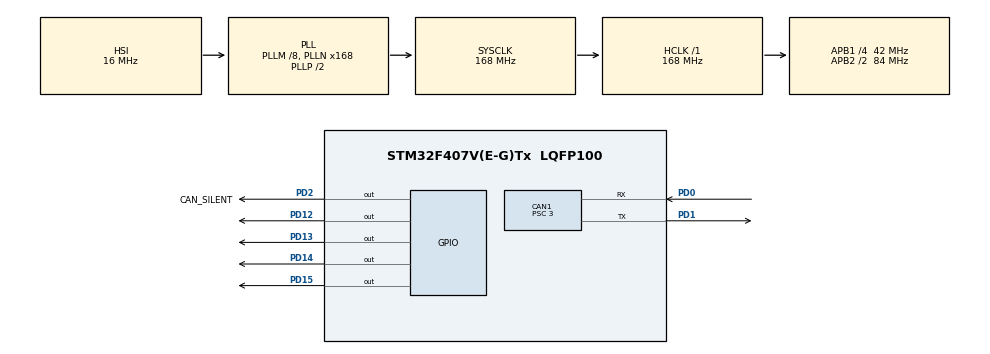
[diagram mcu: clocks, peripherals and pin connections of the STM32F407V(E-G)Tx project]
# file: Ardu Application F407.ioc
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CAN1.ABOM=ENABLE
CAN1.BS1=CAN_BS1_11TQ
CAN1.BS2=CAN_BS2_2TQ
CAN1.CalculateBaudRate=1000000
CAN1.CalculateTimeBit=1000
CAN1.CalculateTimeQuantum=71.42857142857143
CAN1.NART=ENABLE
CAN1.Prescaler=3
Mcu.Family=STM32F4
Mcu.Name=STM32F407V(E-G)Tx
Mcu.Package=LQFP100
NVIC.CAN1_RX0_IRQn=true\:0\:0\:false\:false\:true\:true\:true\:true
NVIC.PriorityGroup=NVIC_PRIORITYGROUP_4
NVIC.TIM6_DAC_IRQn=true\:0\:0\:false\:false\:true\:true\:true\:true
PA13.Mode=Serial_Wire
PA13.Signal=SYS_JTMS-SWDIO
PA14.Mode=Serial_Wire
PA14.Signal=SYS_JTCK-SWCLK
PD0.Mode=CAN_Activate
PD0.Signal=CAN1_RX
PD1.Mode=CAN_Activate
PD1.Signal=CAN1_TX
PD12.Signal=GPIO_Output
PD13.Signal=GPIO_Output
PD14.Signal=GPIO_Output
PD15.Signal=GPIO_Output
PD2.GPIO_Label=CAN_SILENT
PD2.Signal=GPIO_Output
ProjectManager.HeapSize=0x200
ProjectManager.StackSize=0x400
ProjectManager.TargetToolchain=STM32CubeIDE
RCC.48MHZClocksFreq_Value=84000000
RCC.AHBFreq_Value=168000000
RCC.APB1CLKDivider=RCC_HCLK_DIV4
RCC.APB1Freq_Value=42000000
RCC.APB1TimFreq_Value=84000000
RCC.APB2CLKDivider=RCC_HCLK_DIV2
RCC.APB2Freq_Value=84000000
RCC.APB2TimFreq_Value=168000000
RCC.CortexFreq_Value=168000000
RCC.HCLKFreq_Value=168000000
RCC.HSE_VALUE=25000000
RCC.HSI_VALUE=16000000
RCC.LSE_VALUE=32768
RCC.PLLM=8
RCC.PLLN=168
RCC.SYSCLKFreq_VALUE=168000000
RCC.SYSCLKSource=RCC_SYSCLKSOURCE_PLLCLK
RCC.VCOOutputFreq_Value=336000000
TIM6.Prescaler=839
VP_TIM6_VS_ClockSourceINT.Mode=Enable_Timer
board=custom

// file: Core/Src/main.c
/* USER CODE BEGIN Header */
/**
  ******************************************************************************
  * @file           : main.c
  * @brief          : Main program body
  ******************************************************************************
  * @attention
  *
  * Copyright (c) 2026 STMicroelectronics.
  * All rights reserved.
  *
  * This software is licensed under terms that can be found in the LICENSE file
  * in the root directory of this software component.
  * If no LICENSE file comes with this software, it is provided AS-IS.
  *
  ******************************************************************************
  */
/* USER CODE END Header */
#include "main.h"

/* USER CODE BEGIN Includes */
#include "dronecan_node.h"
#include "app_descriptor.h"
/* USER CODE END Includes */

/* USER CODE BEGIN PD */
#define LED_PIN          GPIO_PIN_12      /* PD12 green LED – 1 s blink */
#define LED_PORT         GPIOD
/* USER CODE END PD */

CAN_HandleTypeDef hcan1;

TIM_HandleTypeDef htim6;

/* USER CODE BEGIN PV */
static uint32_t g_led_last_toggle_ms = 0;
static uint8_t  g_led_state          = 0;
static uint8_t  g_fwok_set           = 0U;  /* set once after 5 s uptime */
/* USER CODE END PV */

void SystemClock_Config(void);
static void MX_GPIO_Init(void);
static void MX_CAN1_Init(void);
static void MX_TIM6_Init(void);

int main(void)
{

  /* USER CODE BEGIN 1 */
  /* Relocate vector table to 0x08010000 (bootloader leaves VTOR at 0x08000000).
   * Must happen before HAL_Init() enables SysTick. */
  SCB->VTOR = 0x08010000UL;
  __DSB();
  /* USER CODE END 1 */

  /* MCU Configuration--------------------------------------------------------*/

  /* Reset of all peripherals, Initializes the Flash interface and the Systick. */
  HAL_Init();

  /* Configure the system clock */
  SystemClock_Config();

  /* Initialize all configured peripherals */
  MX_GPIO_Init();
  MX_CAN1_Init();
  MX_TIM6_Init();
  /* USER CODE BEGIN 2 */

  /* Start TIM6 as free-running counter (100 kHz, 10 µs/tick).
   * No interrupt needed – HAL_GetTick() is used for all timing. */
  HAL_TIM_Base_Start(&htim6);

  /* Initialise DroneCAN node: filter, CAN start, canard init, node ID=14 */
  dronecan_init();

  /* USER CODE END 2 */

  /* Infinite loop */
  while (1)
  {

    /* USER CODE BEGIN 3 */

    /* DroneCAN: broadcast NodeStatus every 1 s, drain TX queue */
    dronecan_process();

    /* PD12 green LED: 500 ms on / 500 ms off = 1 s blink period */
    uint32_t now = HAL_GetTick();
    if ((now - g_led_last_toggle_ms) >= 500U)
    {
      g_led_last_toggle_ms = now;
      g_led_state ^= 1U;
      HAL_GPIO_WritePin(LED_PORT, LED_PIN,
                        g_led_state ? GPIO_PIN_SET : GPIO_PIN_RESET);
    }

    /* ---------------------------------------------------------------
     * Hardware watchdog (IWDG) pat.
     * The ArduPilot bootloader calls stm32_watchdog_init() before
     * jumping to the application, starting the IWDG with ~30 s timeout.
     * Writing 0xAAAA to IWDG_KR reloads the counter every loop so it
     * never expires.  If we omit this and the watchdog fires, the
     * bootloader will see (was_watchdog=TRUE, BKP0R != RTC_BOOT_FWOK)
     * on the next power-on and stay in bootloader mode permanently.
     * --------------------------------------------------------------- */
    IWDG->KR = 0xAAAAU;

    /* ---------------------------------------------------------------
     * Set RTC_BOOT_FWOK (0x890b4f89) once after 5 s of healthy uptime.
     * Value must match RTC_BOOT_FWOK in AP_HAL_ChibiOS watchdog.h.
     * This tells the bootloader: "this firmware ran OK – safe to boot
     * again after the next watchdog reset."  Without it, a watchdog
     * reset after power-on would lock the board in the bootloader.
     * --------------------------------------------------------------- */
    if ((now >= 5000U) && !g_fwok_set)
    {
      g_fwok_set = 1U;
      /* Enable RTC backup domain write access (same sequence as
       * rtc_write_bkp0 in dronecan_node.c). */
      RCC->APB1ENR |= RCC_APB1ENR_PWREN;
      PWR->CR      |= PWR_CR_DBP;
      RCC->BDCR    |= RCC_BDCR_RTCEN;
      RTC->BKP0R    = 0x890b4f89UL;   /* RTC_BOOT_FWOK */
    }

    /* USER CODE END 3 */
  }
  /* USER CODE END 3 */
}

void SystemClock_Config(void)
{
  RCC_OscInitTypeDef RCC_OscInitStruct = {0};
  RCC_ClkInitTypeDef RCC_ClkInitStruct = {0};

  /** Configure the main internal regulator output voltage
  */
  __HAL_RCC_PWR_CLK_ENABLE();
  __HAL_PWR_VOLTAGESCALING_CONFIG(PWR_REGULATOR_VOLTAGE_SCALE1);

  /** Initializes the RCC Oscillators according to the specified parameters
  * in the RCC_OscInitTypeDef structure.
  */
  RCC_OscInitStruct.OscillatorType = RCC_OSCILLATORTYPE_HSI;
  RCC_OscInitStruct.HSIState = RCC_HSI_ON;
  RCC_OscInitStruct.HSICalibrationValue = RCC_HSICALIBRATION_DEFAULT;
  RCC_OscInitStruct.PLL.PLLState = RCC_PLL_ON;
  RCC_OscInitStruct.PLL.PLLSource = RCC_PLLSOURCE_HSI;
  RCC_OscInitStruct.PLL.PLLM = 8;
  RCC_OscInitStruct.PLL.PLLN = 168;
  RCC_OscInitStruct.PLL.PLLP = RCC_PLLP_DIV2;
  RCC_OscInitStruct.PLL.PLLQ = 4;
  if (HAL_RCC_OscConfig(&RCC_OscInitStruct) != HAL_OK)
  {
    Error_Handler();
  }

  /** Initializes the CPU, AHB and APB buses clocks
  */
  RCC_ClkInitStruct.ClockType = RCC_CLOCKTYPE_HCLK|RCC_CLOCKTYPE_SYSCLK
                              |RCC_CLOCKTYPE_PCLK1|RCC_CLOCKTYPE_PCLK2;
  RCC_ClkInitStruct.SYSCLKSource = RCC_SYSCLKSOURCE_PLLCLK;
  RCC_ClkInitStruct.AHBCLKDivider = RCC_SYSCLK_DIV1;
  RCC_ClkInitStruct.APB1CLKDivider = RCC_HCLK_DIV4;
  RCC_ClkInitStruct.APB2CLKDivider = RCC_HCLK_DIV2;

  if (HAL_RCC_ClockConfig(&RCC_ClkInitStruct, FLASH_LATENCY_5) != HAL_OK)
  {
    Error_Handler();
  }
}

static void MX_CAN1_Init(void)
{

  hcan1.Instance = CAN1;
  hcan1.Init.Prescaler = 3;
  hcan1.Init.Mode = CAN_MODE_NORMAL;
  hcan1.Init.SyncJumpWidth = CAN_SJW_1TQ;
  hcan1.Init.TimeSeg1 = CAN_BS1_11TQ;
  hcan1.Init.TimeSeg2 = CAN_BS2_2TQ;
  hcan1.Init.TimeTriggeredMode = DISABLE;
  hcan1.Init.AutoBusOff = ENABLE;
  hcan1.Init.AutoWakeUp = DISABLE;
  hcan1.Init.AutoRetransmission = ENABLE;
  hcan1.Init.ReceiveFifoLocked = DISABLE;
  hcan1.Init.TransmitFifoPriority = DISABLE;
  if (HAL_CAN_Init(&hcan1) != HAL_OK)
  {
    Error_Handler();
  }

}

static void MX_TIM6_Init(void)
{

  TIM_MasterConfigTypeDef sMasterConfig = {0};

  htim6.Instance = TIM6;
  htim6.Init.Prescaler = 839;
  htim6.Init.CounterMode = TIM_COUNTERMODE_UP;
  htim6.Init.Period = 65535;
  htim6.Init.AutoReloadPreload = TIM_AUTORELOAD_PRELOAD_DISABLE;
  if (HAL_TIM_Base_Init(&htim6) != HAL_OK)
  {
    Error_Handler();
  }
  sMasterConfig.MasterOutputTrigger = TIM_TRGO_RESET;
  sMasterConfig.MasterSlaveMode = TIM_MASTERSLAVEMODE_DISABLE;
  if (HAL_TIMEx_MasterConfigSynchronization(&htim6, &sMasterConfig) != HAL_OK)
  {
    Error_Handler();
  }

}

static void MX_GPIO_Init(void)
{
  GPIO_InitTypeDef GPIO_InitStruct = {0};

  /* GPIO Ports Clock Enable */
  __HAL_RCC_GPIOD_CLK_ENABLE();
  __HAL_RCC_GPIOA_CLK_ENABLE();

  /*Configure GPIO pin Output Level */
  HAL_GPIO_WritePin(GPIOD, GPIO_PIN_12|GPIO_PIN_13|GPIO_PIN_14|GPIO_PIN_15
                          |CAN_SILENT_Pin, GPIO_PIN_RESET);

  /*Configure GPIO pins : PD12 PD13 PD14 PD15
                           CAN_SILENT_Pin */
  GPIO_InitStruct.Pin = GPIO_PIN_12|GPIO_PIN_13|GPIO_PIN_14|GPIO_PIN_15
                          |CAN_SILENT_Pin;
  GPIO_InitStruct.Mode = GPIO_MODE_OUTPUT_PP;
  GPIO_InitStruct.Pull = GPIO_NOPULL;
  GPIO_InitStruct.Speed = GPIO_SPEED_FREQ_LOW;
  HAL_GPIO_Init(GPIOD, &GPIO_InitStruct);

}

void Error_Handler(void)
{
  __disable_irq();
  while (1)
  {
  }
}
